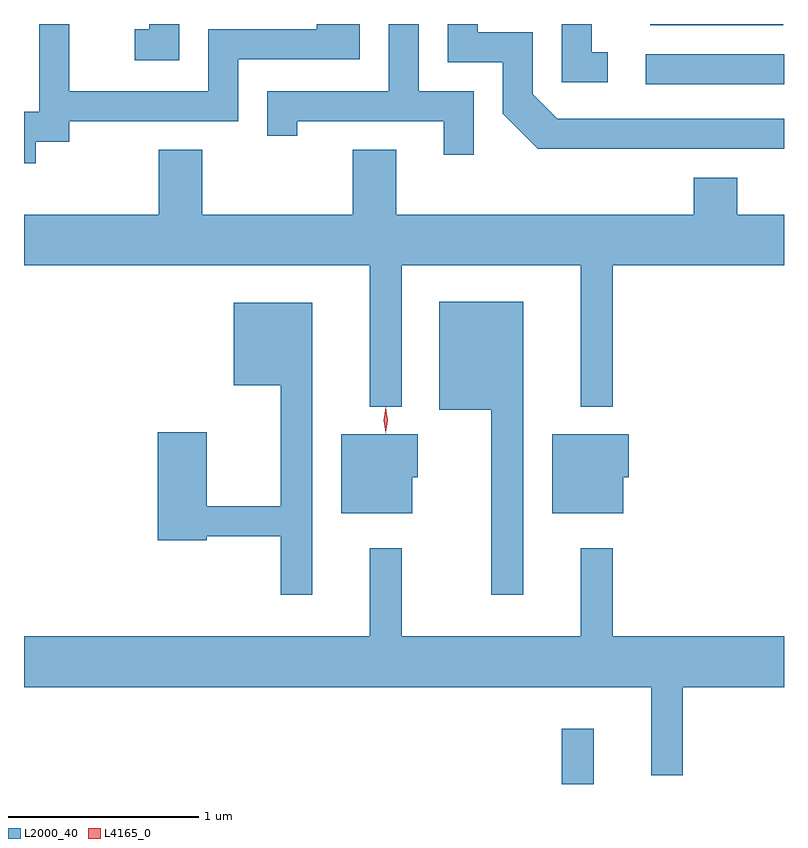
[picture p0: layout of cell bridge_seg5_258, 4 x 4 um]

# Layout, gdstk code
import gdstk
lib = gdstk.Library(unit=1e-6, precision=1e-09)
def R(c, l, rs):  # rectangles x0, y0, x1, y1
    for r in rs: c.add(gdstk.rectangle(r[:2], r[2:], *l))
def P(c, l, *ps):  # polygons
    for p in ps: c.add(gdstk.Polygon(p, *l))
L2000_40 = (2000, 40)
L4165_0 = (4165, 0)

bridge_seg5_258 = lib.new_cell('bridge_seg5_258')
R(bridge_seg5_258, L2000_40, [(723.551,1494.027,723.719,1494.318), (723.993,1497.711,724.721,1497.869), (724.016,1498.021,724.718,1498.027)])
P(bridge_seg5_258, L2000_40, [(724.721,1497.529),(723.527,1497.529),(723.399,1497.657),(723.399,1497.984),(723.109,1497.984),(723.109,1498.027),(722.951,1498.027),(722.951,1497.826),(723.241,1497.826),(723.241,1497.554),(723.424,1497.371),(724.721,1497.371)],
  [(723.089,1497.674),(722.799,1497.674),(722.799,1498.027),(722.641,1498.027),(722.641,1497.674),(722.001,1497.674),(722.001,1497.438),(722.159,1497.438),(722.159,1497.516),(722.931,1497.516),(722.931,1497.338),(723.089,1497.338)],
  [(721.539,1498.027),(721.381,1498.027),(721.381,1497.999),(721.303,1497.999),(721.303,1497.836),(721.539,1497.836)],
  [(723.793,1497.879),(723.709,1497.879),(723.709,1498.027),(723.551,1498.027),(723.551,1497.721),(723.793,1497.721)],
  [(720.784,1497.406),(720.959,1497.406),(720.959,1497.516),(721.849,1497.516),(721.849,1497.841),(722.489,1497.841),(722.489,1498.027),(722.261,1498.027),(722.261,1497.999),(721.691,1497.999),(721.691,1497.674),(720.959,1497.674),(720.959,1498.027),(720.801,1498.027),(720.801,1497.564),(720.721,1497.564),(720.721,1497.293),(720.784,1497.293)],
  [(722.451,1497.364),(722.451,1497.024),(721.659,1497.024),(721.659,1497.364),(721.431,1497.364),(721.431,1497.024),(720.721,1497.024),(720.721,1496.756),(722.541,1496.756),(722.541,1496.013),(722.709,1496.013),(722.709,1496.756),(723.651,1496.756),(723.651,1496.013),(723.819,1496.013),(723.819,1496.756),(724.721,1496.756),(724.721,1497.024),(724.474,1497.024),(724.474,1497.219),(724.246,1497.219),(724.246,1497.024),(722.679,1497.024),(722.679,1497.364)],
  [(723.349,1496.564),(722.906,1496.564),(722.906,1495.996),(723.181,1495.996),(723.181,1495.023),(723.349,1495.023)],
  [(722.239,1496.559),(721.826,1496.559),(721.826,1496.126),(722.071,1496.126),(722.071,1495.489),(721.684,1495.489),(721.684,1495.879),(721.426,1495.879),(721.426,1495.311),(721.684,1495.311),(721.684,1495.331),(722.071,1495.331),(722.071,1495.023),(722.239,1495.023)],
  [(722.764,1495.641),(722.794,1495.641),(722.794,1495.869),(722.391,1495.869),(722.391,1495.451),(722.764,1495.451)],
  [(723.874,1495.641),(723.904,1495.641),(723.904,1495.869),(723.501,1495.869),(723.501,1495.451),(723.874,1495.451)],
  [(724.189,1494.536),(724.721,1494.536),(724.721,1494.804),(723.819,1494.804),(723.819,1495.268),(723.651,1495.268),(723.651,1494.804),(722.709,1494.804),(722.709,1495.268),(722.541,1495.268),(722.541,1494.804),(720.721,1494.804),(720.721,1494.536),(724.021,1494.536),(724.021,1494.073),(724.189,1494.073)])
P(bridge_seg5_258, L4165_0, [(722.626,1495.874),(722.625,1495.875),(722.615,1495.942),(722.625,1496.01),(722.625,1496.01),(722.626,1496.01),(722.635,1495.942),(722.626,1495.875)],
  [(722.625,1495.878),(722.624,1495.879),(722.615,1495.943),(722.624,1496.007),(722.625,1496.007),(722.625,1496.007),(722.635,1495.943),(722.625,1495.879)])

lib.write_gds('bridge_seg5_258.gds')
